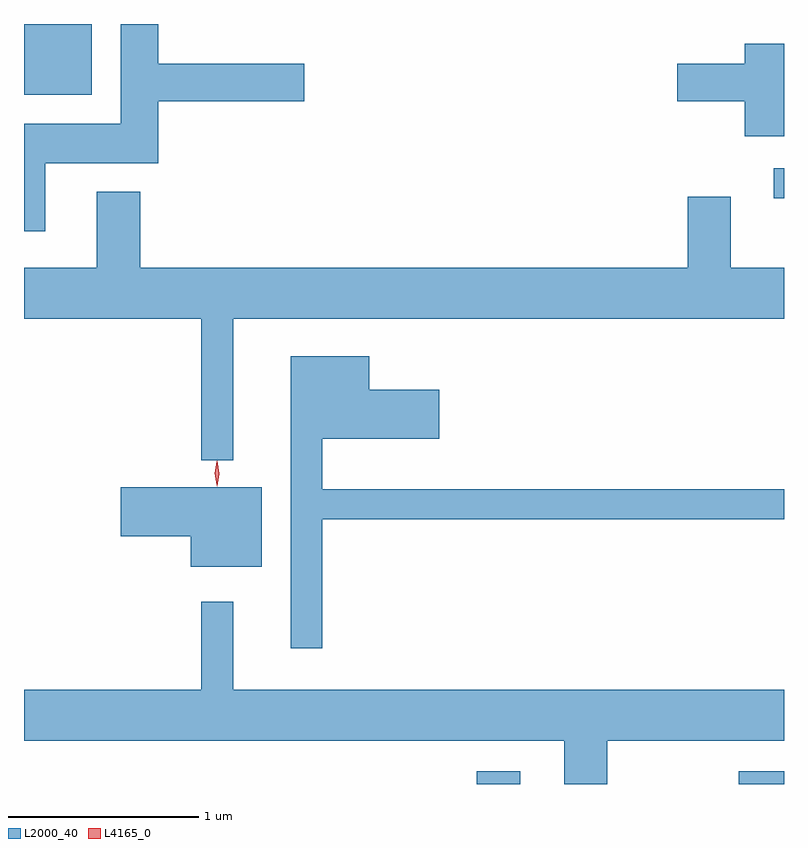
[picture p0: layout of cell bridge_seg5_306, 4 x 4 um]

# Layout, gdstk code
import gdstk
lib = gdstk.Library(unit=1e-6, precision=1e-09)
def R(c, l, rs):  # rectangles x0, y0, x1, y1
    for r in rs: c.add(gdstk.rectangle(r[:2], r[2:], *l))
def P(c, l, *ps):  # polygons
    for p in ps: c.add(gdstk.Polygon(p, *l))
L2000_40 = (2000, 40)
L4165_0 = (4165, 0)

bridge_seg5_306 = lib.new_cell('bridge_seg5_306')
R(bridge_seg5_306, L2000_40, [(731.471,1414.388,731.699,1414.454), (732.851,1414.388,733.088,1414.454), (733.033,1417.471,733.088,1417.629), (729.088,1418.016,729.444,1418.388)])
P(bridge_seg5_306, L2000_40, [(729.199,1417.656),(729.794,1417.656),(729.794,1417.981),(730.564,1417.981),(730.564,1418.179),(729.794,1418.179),(729.794,1418.388),(729.596,1418.388),(729.596,1417.864),(729.088,1417.864),(729.088,1417.296),(729.199,1417.296)],
  [(733.088,1418.284),(732.881,1418.284),(732.881,1418.179),(732.526,1418.179),(732.526,1417.981),(732.881,1417.981),(732.881,1417.796),(733.088,1417.796)],
  [(730.189,1416.836),(733.088,1416.836),(733.088,1417.104),(732.809,1417.104),(732.809,1417.479),(732.581,1417.479),(732.581,1417.104),(729.699,1417.104),(729.699,1417.504),(729.471,1417.504),(729.471,1417.104),(729.088,1417.104),(729.088,1416.836),(730.021,1416.836),(730.021,1416.093),(730.189,1416.093)],
  [(730.659,1415.781),(733.088,1415.781),(733.088,1415.939),(730.659,1415.939),(730.659,1416.206),(731.274,1416.206),(731.274,1416.464),(730.904,1416.464),(730.904,1416.639),(730.491,1416.639),(730.491,1415.103),(730.659,1415.103)],
  [(730.339,1415.949),(729.596,1415.949),(729.596,1415.691),(729.966,1415.691),(729.966,1415.531),(730.339,1415.531)],
  [(732.159,1414.616),(733.088,1414.616),(733.088,1414.884),(730.189,1414.884),(730.189,1415.348),(730.021,1415.348),(730.021,1414.884),(729.088,1414.884),(729.088,1414.616),(731.931,1414.616),(731.931,1414.388),(732.159,1414.388)])
P(bridge_seg5_306, L4165_0, [(730.103,1415.96),(730.103,1415.96),(730.093,1416.023),(730.103,1416.086),(730.103,1416.087),(730.104,1416.086),(730.113,1416.023),(730.104,1415.96)],
  [(730.105,1415.954),(730.095,1416.022),(730.104,1416.09),(730.105,1416.09),(730.105,1416.09),(730.115,1416.022),(730.106,1415.954),(730.106,1415.954)])

lib.write_gds('bridge_seg5_306.gds')
